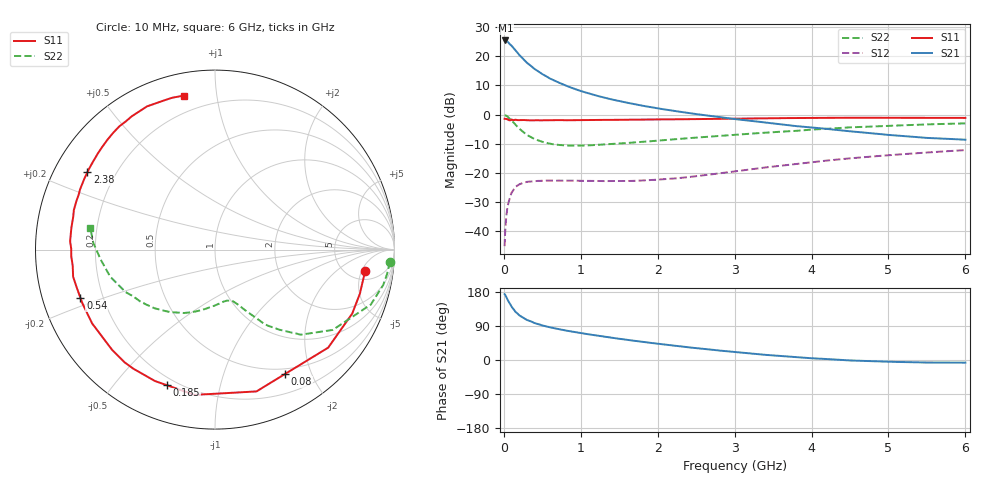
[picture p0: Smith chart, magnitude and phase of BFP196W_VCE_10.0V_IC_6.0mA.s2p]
! Infineon Technologies  Discrete & RF Semiconductors
! BFP196W
! VCE = 10.0V,  IC = 6.0mA
! Common Emitter S-Parameters:  Jan 2016
# GHz  S  MA  R  50
!  f  S11  S21  S12  S22
! GHz  MAG  ANG  MAG  ANG  MAG  ANG  MAG  ANG
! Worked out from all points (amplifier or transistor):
!   210 points, 10 MHz to 6 GHz, reference 50 ohm
!   highest |S21| = 25.4 dB at 20 MHz (marker M1)
!   |S21| within 3 dB of that: start of sweep to 138.3 MHz
!   unconditionally stable (mu >= 1): 1.399 GHz to 3.352 GHz
!   at 185 MHz: K = 0.16, MSG = 22.6 dB, |S12| = -24.3 dB
!   at 1.52 GHz: K = 1.07, MAG = 12.1 dB, |S12| = -22.8 dB
!   at 6 GHz: K = 0.95, MSG = 1.8 dB, |S12| = -12.2 dB
!   S11 on the Smith chart (normalised r, x): 10 MHz: 6.85, -5.84; 80 MHz: 0.43, -1.63; 185 MHz: 0.16, -0.69; 540 MHz: 0.12, -0.17; 2.38 GHz: 0.10, +0.28; 6 GHz: 0.11, +0.81
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0.01  0.8448 -8.3  18.45 173.8  0.0055 81.0  0.977 -4.0
0.02  0.8437 -16.9  18.7 171.0  0.0113 80.9  0.9683 -8.1
0.05  0.8343 -40.9  17.78 158.1  0.0271 69.5  0.9206 -19.4
0.08  0.7953 -60.6  16.05 148.2  0.0377 58.1  0.8378 -27.8
0.1  0.8232 -73.7  15.2 140.5  0.0452 53.6  0.7943 -34.3
0.15  0.8175 -98.0  12.72 127.3  0.0571 42.5  0.6738 -44.7
0.185  0.8017 -109.5  11.19 121.2  0.0613 37.2  0.6023 -49.0
0.2  0.805 -114.5  10.58 118.0  0.0632 35.1  0.5729 -51.2
0.24  0.8045 -124.4  9.326 112.7  0.0665 30.8  0.5175 -55.1
0.3  0.8004 -135.8  7.744 105.7  0.0699 26.1  0.4462 -58.9
0.4  0.7986 -149.0  6.05 97.4  0.072 21.3  0.3783 -63.5
0.54  0.7966 -160.3  4.623 89.4  0.0733 18.3  0.329 -67.6
0.6  0.7984 -164.0  4.151 86.2  0.0735 17.4  0.3149 -69.3
0.8  0.7978 -173.5  3.152 78.0  0.0735 16.3  0.2952 -74.2
1.02  0.8025 179.0  2.486 70.5  0.0728 17.2  0.2932 -80.0
1.4  0.8091 169.2  1.82 58.7  0.0721 21.3  0.3121 -90.2
2.02  0.8235 155.6  1.265 42.6  0.0766 33.1  0.3583 -106.5
2.38  0.8321 148.7  1.072 33.9  0.0838 39.4  0.3914 -115.6
3.1  0.8527 136.1  0.81 19.3  0.1099 46.9  0.4592 -133.7
4.1  0.8762 120.7  0.584 3.6  0.1572 46.4  0.5597 -156.9
5.1  0.8786 109.0  0.437 -5.1  0.2048 39.8  0.6474 -177.0
6  0.8753 101.3  0.37 -7.0  0.2454 32.9  0.7049 170.2
